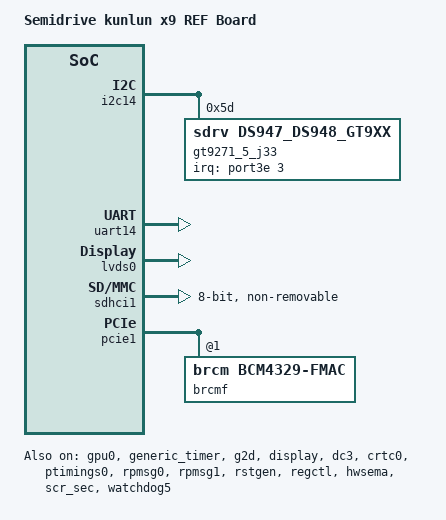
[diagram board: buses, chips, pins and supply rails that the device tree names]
/*
 * Semidrive kunlun platform DTS file
 *
 * Copyright (C) 2019, Semidrive  Communications Inc.
 *
 * This file is licensed under a dual GPLv2 or X11 license.
 */

/dts-v1/;
#include "../x9_high_ecockpit.dtsi"
#include "../x9_high_ref_controlpanel-clk-ctrl.dtsi"
#include "../lcd-timings.dtsi"
#include <dt-bindings/pinctrl/pins-sdx9.h>
#include <dt-bindings/memmap/x9_high/projects/default/image_cfg.h>
#include <dt-bindings/rpmsg/sd,x9h-default.h>

/ {
	model = "Semidrive kunlun x9 REF Board";

	compatible = "semidrive,kunlun";

	aliases {
		serial0 = &uart14;
	};

	memory@50000000 {
		device_type = "memory";
		reg = <HIGH32(AP1_KERNEL_MEMBASE-0x80000) LOW32(AP1_KERNEL_MEMBASE-0x80000) HIGH32(AP1_KERNEL_MEMSIZE) LOW32(AP1_KERNEL_MEMSIZE) >;
	};

	reserved-memory {
		#address-cells = <2>;
		#size-cells = <2>;
		ranges;

		/* Default Common CMA Pool */
		/* QUIRK: Must be kept in the lower 4096 MiBs of DRAM banks for VE */
		linux,cma {
			compatible = "shared-dma-pool";
			reusable;
			size = <0x0 0x20000000>;
			/* 4GB maximum in case of 32-bit only capable devices */
			alloc-ranges = <0x0 0x0 0x0 0xffffffff>;
			linux,cma-default;
		};

		rproc_0_safety: rproc@0 {
			compatible = "shared-dma-pool";
			no-map;
			reg = <0x0 RPMSG0_MEM_POOL_BASE 0x0 RPMSG0_MEM_POOL_SIZE>;
		};

		rproc_1_secure: rproc@1 {
			compatible = "shared-dma-pool";
			no-map;
			reg = <0x0 RPMSG1_MEM_POOL_BASE 0x0 RPMSG1_MEM_POOL_SIZE>;
		};
	};

	chosen {
		bootargs = "skip_initramfs noinitrd root=/dev/mmcblk0p4 rootfstype=ext4 rootwait rw init=/sbin/init highres=1 earlycon loglevel=4 console=ttyS0,115200n8 fbcon=map:1 androidboot.mode=normal androidboot.selinux=permissive androidboot.debuggable=0 androidboot.dm_verity=disable ";
		stdout-path = "serial0";
	};

};

&gpu0 {
	status = "okay";
};

&dmac7 {
	status = "okay";
};

&i2c14 {
	status = "okay";

	gt9271_5_j33:touch@5d {
		compatible = "sdrv,ds947_ds948_gt9xx";
		irq-gpios = <&port3e 3 0>;	/*io83*/
		/*reset-gpios = <&ext_gpio 7 0>;		/index 7*/
		reg = <0x5d>;
		dev_type = <0>;	/* 0: main device, 1: aux device */
		addr_ds947 = <0x1a>;
		addr_ds948 = <0x2c>;
		irq_channel = <3>;
		reset_channel = <2>;
	};

};

&uart14 {
	dmas = <&dmac7 X9_DMA_SLV_ID_UART15_TX>, <&dmac7 X9_DMA_SLV_ID_UART15_RX>;
	dma-names = "tx", "rx";
	status = "okay";
};

&generic_timer {
	status = "okay";
};

&g2d {
	status = "okay";
};

&display {
	sdriv,crtc = <&crtc0>;
	status = "okay";
};

&dc3 {
	status = "okay";
};

&crtc0 {
	dpc-master = <&dc3>;
	status = "okay";

	crtc0_out: port {
		crtc0_out_interface: endpoint@0 {
			remote-endpoint = <&lvds_in_crtc0>;
		};
	};
};

&lvds0 {
	lvds-select = <4>;
	status = "okay";
};

&dtimings0 {
	native-mode = <&hd1280x800>;
};

&ptimings0 {
	status = "okay";

	port {
		parall_panel0_in: endpoint {
			remote-endpoint = <&lvds_out_timing0>;
		};
			};
};

&sdhci1 {
	bus-width = <8>;
	non-removable;
	no-sdio;
	no-sd;
	card-is-emmc;
	disable-wp;
	cap-mmc-highspeed;
	keep-power-in-suspend;
	mmc-ddr-1_8v;
	mmc-hs200-1_8v;
	mmc-hs400-1_8v;
	mmc-hs400-enhanced-strobe;
	status = "okay";
};

&mbox {
	status = "okay";
};

&mbox_test {
	status = "okay";
};

&rpmsg0 {
	memory-region = <&rproc_0_safety>;
	reg = <0x0 RPMSG0_MEM_HEAD_BASE 0x0 RPMSG0_MEM_HEAD_SIZE>;
	status = "okay";
};

&rpmsg1 {
	memory-region = <&rproc_1_secure>;
	reg = <0x0 RPMSG1_MEM_HEAD_BASE 0x0 RPMSG1_MEM_HEAD_SIZE>;
	status = "okay";
};

&ipcc0 {
	status = "okay";
};

&ipcc1 {
	status = "okay";
};

&pinctrl {
	reg = <0x0 0x37020000 0x0 0x10000>;
};

&gpio3 {
	status = "okay";
};

&rstgen {
	reg = <0x0 0x38461000 0x0 0x1000>,	/* GIC4 */
		<0x0 0x38455000 0x0 0x1000>,	/* cpu1 core0 warm */
		<0x0 0x38456000 0x0 0x1000>,	/* cpu1 core1 warm */
		<0x0 0x38457000 0x0 0x1000>,	/* cpu1 core2 warm */
		<0x0 0x38458000 0x0 0x1000>,	/* cpu1 core3 warm */
		<0x0 0x38459000 0x0 0x1000>,	/* cpu1 core4 warm */
		<0x0 0x3845a000 0x0 0x1000>,	/* cpu1 core5 warm */
		<0x0 0x3845b000 0x0 0x1000>,	/* cpu1 scu warm */
		<0x0 0x3846d000 0x0 0x1000>,	/* cpu1 ss */
		<0x0 0x38407000 0x0 0x2000>;	/* cpu1 all core */
	rstgen_resource = <
		RSTGEN_MODULE_GIC4
		RSTGEN_MODULE_CPU1_CORE0_WARM
		RSTGEN_MODULE_CPU1_CORE1_WARM
		RSTGEN_MODULE_CPU1_CORE2_WARM
		RSTGEN_MODULE_CPU1_CORE3_WARM
		RSTGEN_MODULE_CPU1_CORE4_WARM
		RSTGEN_MODULE_CPU1_CORE5_WARM
		RSTGEN_MODULE_CPU1_SCU_WARM
		RSTGEN_MODULE_CPU1_SS
		RSTGEN_CORE_CPU1_ALL
	>;
	status = "okay";
};

&regctl {
	reg = <0x0 0x38415000 0x0 0x1000>,
		<0x0 0x38418000 0x0 0x1000>,
		<0x0 0x38419000 0x0 0x1000>,
		<0x0 0x3841a000 0x0 0x1000>;
	reg-names = "SDRV_REG_REMAP",
			"SDRV_REG_BOOTREASON",
			"SDRV_REG_HWID",
			"SDRV_REG_STATUS";
	status = "okay";
};

&hwsema {
        status = "okay";
};

&scr_sec {
        status = "okay";
};

&watchdog5 {
	wdt,auto-run = "false";
	status = "okay";
};

&pcie1 {
	status = "okay";
	brcmf: bcrmf@1 {
		reg = <1>;
		compatible = "brcm,bcm4329-fmac";
	};
};
